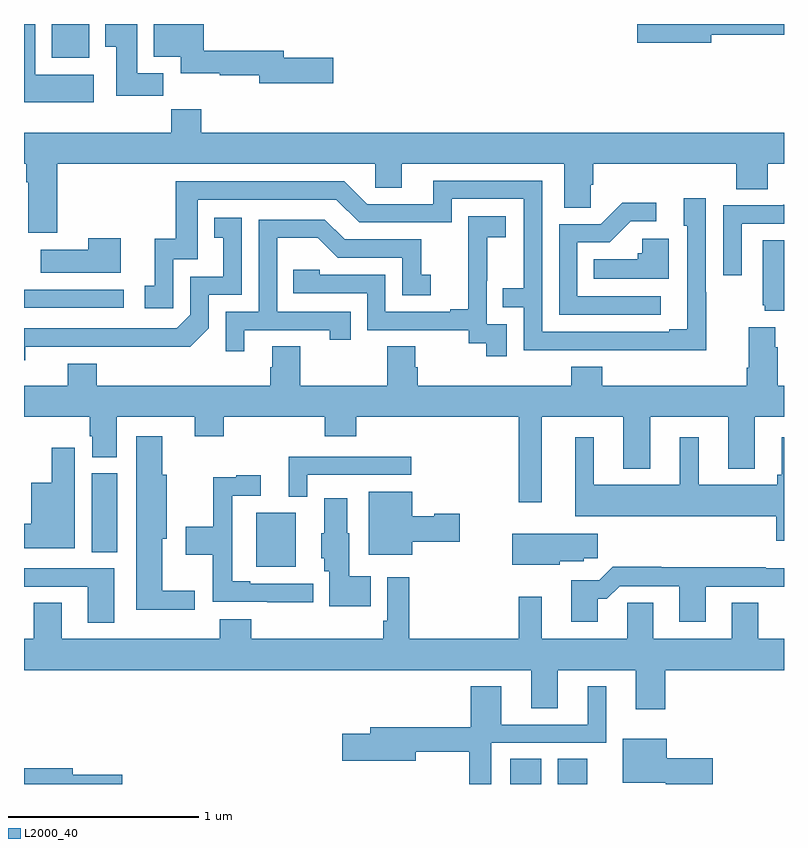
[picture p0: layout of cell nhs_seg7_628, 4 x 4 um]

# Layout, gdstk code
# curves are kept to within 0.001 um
import gdstk
lib = gdstk.Library(unit=1e-6, precision=1e-09)
def R(c, l, rs):  # rectangles x0, y0, x1, y1
    for r in rs: c.add(gdstk.rectangle(r[:2], r[2:], *l))
def P(c, l, *ps):  # polygons
    for p in ps: c.add(gdstk.Polygon(p, *l))
L2000_40 = (2000, 40)

nhs_seg7_628 = lib.new_cell('nhs_seg7_628')
R(nhs_seg7_628, L2000_40, [(161.558,1016,161.722,1016.132), (161.81,1016,161.965,1016.132), (160.223,1017.143,160.429,1017.427), (159.356,1017.22,159.49,1017.636), (159,1018.506,159.526,1018.602), (159.146,1019.822,159.343,1020)])
P(nhs_seg7_628, L2000_40, [(160.627,1019.822),(160.366,1019.822),(160.366,1019.858),(159.947,1019.858),(159.947,1020),(159.683,1020),(159.683,1019.828),(159.824,1019.828),(159.824,1019.741),(160.03,1019.741),(160.03,1019.73),(160.238,1019.73),(160.238,1019.687),(160.627,1019.687)],
  [(162.616,1019.944),(163,1019.944),(163,1020),(162.228,1020),(162.228,1019.902),(162.616,1019.902)],
  [(159.367,1019.734),(159.058,1019.734),(159.058,1020),(159,1020),(159,1019.588),(159.367,1019.588)],
  [(159.734,1019.74),(159.595,1019.74),(159.595,1020),(159.428,1020),(159.428,1019.881),(159.485,1019.881),(159.485,1019.622),(159.734,1019.622)],
  [(159.176,1019.264),(160.848,1019.264),(160.848,1019.137),(160.987,1019.137),(160.987,1019.264),(161.843,1019.264),(161.843,1019.032),(161.982,1019.032),(161.982,1019.155),(161.996,1019.155),(161.996,1019.264),(162.749,1019.264),(162.749,1019.131),(162.914,1019.131),(162.914,1019.264),(163,1019.264),(163,1019.428),(159.932,1019.428),(159.932,1019.552),(159.775,1019.552),(159.775,1019.428),(159,1019.428),(159,1019.264),(159.011,1019.264),(159.011,1019.168),(159.023,1019.168),(159.023,1018.902),(159.176,1018.902)],
  [(162.591,1018.589),(162.588,1018.589),(162.588,1019.083),(162.473,1019.083),(162.473,1018.938),(162.492,1018.938),(162.492,1018.393),(162.395,1018.393),(162.395,1018.38),(161.727,1018.38),(161.727,1019.175),(161.153,1019.175),(161.153,1019.052),(160.806,1019.052),(160.686,1019.172),(159.799,1019.172),(159.799,1018.87),(159.689,1018.87),(159.689,1018.623),(159.636,1018.623),(159.636,1018.503),(159.786,1018.503),(159.786,1018.761),(159.915,1018.761),(159.915,1019.076),(160.644,1019.076),(160.764,1018.956),(161.25,1018.956),(161.25,1019.079),(161.631,1019.079),(161.631,1018.61),(161.521,1018.61),(161.521,1018.509),(161.631,1018.509),(161.631,1018.284),(162.591,1018.283)],
  [(162.352,1018.566),(161.913,1018.566),(161.913,1018.851),(162.082,1018.851),(162.193,1018.962),(162.328,1018.962),(162.328,1019.06),(162.149,1019.06),(162.036,1018.947),(161.817,1018.947),(161.817,1018.47),(162.352,1018.47)],
  [(162.777,1018.95),(163,1018.95),(163,1019.048),(162.997,1019.048),(162.997,1019.046),(162.681,1019.046),(162.681,1018.677),(162.777,1018.677)],
  [(161.541,1018.419),(161.436,1018.419),(161.436,1018.649),(161.438,1018.649),(161.438,1018.877),(161.536,1018.877),(161.536,1018.987),(161.338,1018.987),(161.338,1018.781),(161.339,1018.781),(161.339,1018.498),(161.243,1018.498),(161.243,1018.485),(160.902,1018.485),(160.902,1018.68),(160.557,1018.68),(160.557,1018.707),(160.417,1018.707),(160.417,1018.584),(160.806,1018.584),(160.806,1018.389),(161.34,1018.389),(161.34,1018.321),(161.433,1018.321),(161.433,1018.251),(161.541,1018.251)],
  [(159.006,1018.302),(159.874,1018.301),(159.972,1018.398),(159.972,1018.575),(160.146,1018.575),(160.146,1018.981),(160,1018.981),(160,1018.875),(160.049,1018.875),(160.049,1018.671),(159.876,1018.671),(159.876,1018.47),(159.804,1018.398),(159,1018.398),(159,1018.229),(159.006,1018.229)],
  [(160.159,1018.389),(160.61,1018.389),(160.61,1018.338),(160.721,1018.338),(160.721,1018.485),(160.332,1018.485),(160.332,1018.874),(160.546,1018.874),(160.65,1018.77),(160.992,1018.77),(160.992,1018.572),(161.14,1018.572),(161.14,1018.681),(161.091,1018.681),(161.091,1018.866),(160.687,1018.866),(160.582,1018.971),(160.236,1018.971),(160.236,1018.485),(160.062,1018.485),(160.062,1018.278),(160.159,1018.278)],
  [(159.508,1018.873),(159.338,1018.873),(159.338,1018.813),(159.089,1018.813),(159.089,1018.691),(159.508,1018.691)],
  [(162.394,1018.87),(162.255,1018.87),(162.255,1018.794),(162.229,1018.794),(162.229,1018.762),(161.998,1018.762),(161.998,1018.658),(162.394,1018.658)],
  [(163,1018.861),(162.887,1018.861),(162.887,1018.521),(162.899,1018.521),(162.899,1018.49),(163,1018.49)],
  [(159.23,1018.096),(159,1018.096),(159,1017.932),(159.347,1017.932),(159.347,1017.831),(159.359,1017.831),(159.359,1017.721),(159.487,1017.721),(159.487,1017.932),(159.899,1017.932),(159.899,1017.83),(160.052,1017.83),(160.052,1017.932),(160.583,1017.932),(160.583,1017.83),(160.748,1017.83),(160.748,1017.932),(161.604,1017.932),(161.604,1017.483),(161.725,1017.483),(161.725,1017.932),(162.155,1017.932),(162.155,1017.659),(162.295,1017.659),(162.295,1017.932),(162.707,1017.932),(162.707,1017.659),(162.847,1017.659),(162.847,1017.932),(163,1017.932),(163,1018.096),(162.968,1018.096),(162.968,1018.298),(162.955,1018.298),(162.955,1018.405),(162.815,1018.405),(162.815,1018.192),(162.803,1018.192),(162.803,1018.096),(162.044,1018.096),(162.044,1018.195),(161.879,1018.195),(161.879,1018.096),(161.072,1018.096),(161.072,1018.194),(161.059,1018.194),(161.059,1018.304),(160.912,1018.304),(160.912,1018.096),(160.455,1018.096),(160.455,1018.304),(160.307,1018.304),(160.307,1018.194),(160.295,1018.194),(160.295,1018.096),(159.383,1018.096),(159.383,1018.213),(159.23,1018.213)],
  [(159.898,1017.017),(159.727,1017.017),(159.727,1017.291),(159.751,1017.291),(159.751,1017.627),(159.727,1017.627),(159.727,1017.829),(159.59,1017.829),(159.59,1016.918),(159.898,1016.918)],
  [(163,1017.826),(162.989,1017.826),(162.989,1017.627),(162.964,1017.627),(162.964,1017.574),(162.55,1017.574),(162.55,1017.826),(162.452,1017.826),(162.452,1017.574),(161.998,1017.574),(161.998,1017.826),(161.9,1017.826),(161.9,1017.41),(162.959,1017.41),(162.959,1017.279),(163,1017.279)],
  [(159.268,1017.769),(159.146,1017.769),(159.146,1017.586),(159.038,1017.586),(159.038,1017.37),(159,1017.37),(159,1017.242),(159.268,1017.242)],
  [(160.491,1017.627),(161.038,1017.627),(161.038,1017.723),(160.394,1017.723),(160.394,1017.512),(160.491,1017.512)],
  [(160.522,1017.054),(160.192,1017.054),(160.192,1017.067),(160.095,1017.067),(160.095,1017.516),(160.246,1017.516),(160.246,1017.625),(160.118,1017.625),(160.118,1017.614),(159.997,1017.614),(159.997,1017.354),(159.852,1017.354),(159.852,1017.206),(159.994,1017.206),(159.994,1016.958),(160.279,1016.958),(160.279,1016.957),(160.522,1016.957)],
  [(161.044,1017.275),(161.293,1017.275),(161.293,1017.422),(161.16,1017.422),(161.16,1017.409),(161.044,1017.409),(161.044,1017.538),(160.814,1017.538),(160.814,1017.206),(161.044,1017.206)],
  [(160.826,1017.094),(160.711,1017.094),(160.711,1017.321),(160.702,1017.321),(160.702,1017.505),(160.58,1017.505),(160.58,1017.321),(160.565,1017.321),(160.565,1017.189),(160.58,1017.189),(160.58,1017.12),(160.607,1017.12),(160.607,1016.936),(160.826,1016.936)],
  [(161.82,1017.173),(161.946,1017.173),(161.946,1017.187),(162.019,1017.187),(162.019,1017.316),(161.57,1017.316),(161.57,1017.155),(161.82,1017.155)],
  [(162.019,1016.975),(162.068,1016.975),(162.135,1017.042),(162.449,1017.042),(162.449,1016.853),(162.589,1016.853),(162.589,1017.039),(163,1017.039),(163,1017.136),(162.905,1017.136),(162.905,1017.14),(162.353,1017.14),(162.353,1017.143),(162.098,1017.143),(162.027,1017.072),(161.879,1017.072),(161.879,1016.853),(162.019,1016.853)],
  [(159.475,1017.135),(159,1017.135),(159,1017.039),(159.335,1017.039),(159.335,1016.85),(159.475,1016.85)],
  [(162.374,1016.6),(163,1016.6),(163,1016.764),(162.865,1016.764),(162.865,1016.954),(162.725,1016.954),(162.725,1016.764),(162.313,1016.764),(162.313,1016.954),(162.174,1016.954),(162.174,1016.764),(161.725,1016.764),(161.725,1016.986),(161.604,1016.986),(161.604,1016.764),(161.027,1016.764),(161.027,1017.088),(160.911,1017.088),(160.911,1016.86),(160.891,1016.86),(160.891,1016.764),(160.196,1016.764),(160.196,1016.866),(160.031,1016.866),(160.031,1016.764),(159.199,1016.764),(159.199,1016.954),(159.052,1016.954),(159.052,1016.764),(159,1016.764),(159,1016.6),(161.669,1016.6),(161.669,1016.398),(161.809,1016.398),(161.809,1016.6),(162.221,1016.6),(162.221,1016.394),(162.374,1016.394)],
  [(161.46,1016.217),(162.064,1016.217),(162.064,1016.515),(161.966,1016.515),(161.966,1016.313),(161.512,1016.313),(161.512,1016.515),(161.351,1016.515),(161.351,1016.299),(160.823,1016.299),(160.823,1016.265),(160.674,1016.265),(160.674,1016.123),(161.062,1016.123),(161.062,1016.17),(161.344,1016.17),(161.344,1016),(161.46,1016)],
  [(162.625,1016.136),(162.382,1016.136),(162.382,1016.239),(162.152,1016.239),(162.152,1016.006),(162.378,1016.006),(162.378,1016),(162.625,1016)],
  [(159.517,1016.048),(159.256,1016.048),(159.256,1016.084),(159,1016.084),(159,1016),(159.517,1016)])

lib.write_gds('nhs_seg7_628.gds')
